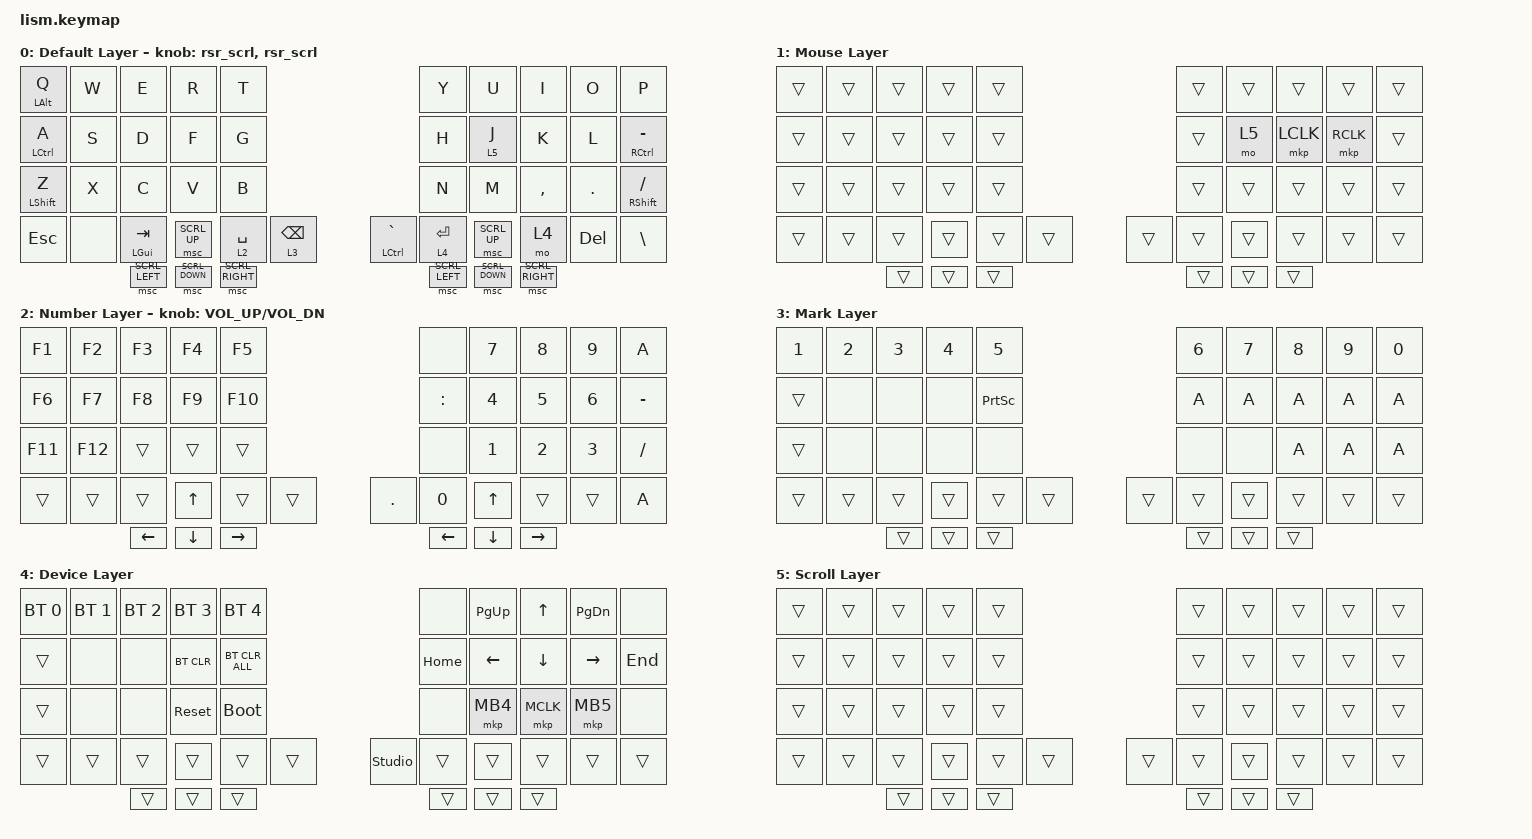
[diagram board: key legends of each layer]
#define ZMK_POINTING_DEFAULT_SCRL_VAL 200

#include <dt-bindings/zmk/mouse.h>
#include <behaviors/runtime-sensor-rotate.dtsi>
#include <behaviors/default_layer.dtsi>
#include <dt-bindings/zmk_behavior_default_layer/default_layer.h>
#include <behaviors.dtsi>
#include <dt-bindings/zmk/bt.h>
#include <dt-bindings/zmk/keys.h>
#include <dt-bindings/zmk/pointing.h>

&mt {
    tapping-term-ms = <300>;
    flavor = "balanced";
};

&lt { quick-tap-ms = <300>; flavor = "balanced";};

//&automouse {
//    continue-list = <&mkp LCLK &mkp RCLK>;
//};
&zip_temp_layer {
    /* オートマウスレイヤーを解除したくないキーの「ポジション番号」を指定します */
    /* （例：16番と17番のキーにLCLKやRCLKを割り当てている場合） */
    excluded-positions = <17 18>;
};

/ {
    macros {
        emoji: emoji_macro {
            compatible = "zmk,behavior-macro";
            label = "EMOJI";
            #binding-cells = <0>;
            bindings =
                <&macro_press>,
                <&kp CAPSLOCK>,
                <&macro_tap>,
                <&kp E>,
                <&macro_release>,
                <&kp CAPSLOCK>;
        };
    };

    behaviors {
        encoder_kp: sensor_rotate_kp {
            compatible = "zmk,behavior-sensor-rotate-var";
            #sensor-binding-cells = <2>;
            bindings = <&kp>, <&kp>;
        };

        rsr_scrl: rsr_scrl {
            compatible = "zmk,behavior-runtime-sensor-rotate";
            #sensor-binding-cells = <0>;
            tap-ms = <20>;
            cw-binding = <&msc SCRL_DOWN>;
            ccw-binding = <&msc SCRL_UP>;
        };
    };

    keymap {
        compatible = "zmk,keymap";

        default_layer {
            display-name = "Default Layer";
            bindings = <
&mt LEFT_ALT Q    &kp W  &kp E             &kp R           &kp T                                                &kp Y           &kp U           &kp I            &kp O    &kp P
&mt LCTRL A       &kp S  &kp D             &kp F           &kp G                                                &kp H           &lt 5 J         &kp K            &kp L    &mt RCTRL MINUS
&mt LEFT_SHIFT Z  &kp X  &kp C             &kp V           &kp B                                                &kp N           &kp M           &kp COMMA        &kp DOT  &mt RIGHT_SHIFT SLASH
&kp ESC           &none  &mt LEFT_GUI TAB  &msc SCRL_UP    &lt 2 SPACE      &lt 3 BACKSPACE    &mt LCTRL GRAVE  &lt 4 ENTER     &msc SCRL_UP    &mo 4            &kp DEL  &kp BACKSLASH
                         &msc SCRL_LEFT    &msc SCRL_DOWN  &msc SCRL_RIGHT                                      &msc SCRL_LEFT  &msc SCRL_DOWN  &msc SCRL_RIGHT
            >;

            sensor-bindings = <&rsr_scrl &rsr_scrl>;
        };

        layer_1 {
            display-name = "Mouse Layer";
            bindings = <
&trans  &trans  &trans  &trans  &trans                    &trans  &trans  &trans     &trans     &trans
&trans  &trans  &trans  &trans  &trans                    &trans  &mo 5   &mkp LCLK  &mkp RCLK  &trans
&trans  &trans  &trans  &trans  &trans                    &trans  &trans  &trans     &trans     &trans
&trans  &trans  &trans  &trans  &trans  &trans    &trans  &trans  &trans  &trans     &trans     &trans
                &trans  &trans  &trans                    &trans  &trans  &trans
            >;
        };

        layer_2 {
            display-name = "Number Layer";
            bindings = <
&kp F1   &kp F2   &kp F3    &kp F4    &kp F5                        &none      &kp N7    &kp N8     &kp N9  &kp A
&kp F6   &kp F7   &kp F8    &kp F9    &kp F10                       &kp COLON  &kp N4    &kp N5     &kp N6  &kp MINUS
&kp F11  &kp F12  &trans    &trans    &trans                        &none      &kp N1    &kp N2     &kp N3  &kp FSLH
&trans   &trans   &trans    &kp UP    &trans     &trans    &kp DOT  &kp N0     &kp UP    &trans     &trans  &kp A
                  &kp LEFT  &kp DOWN  &kp RIGHT                     &kp LEFT   &kp DOWN  &kp RIGHT
            >;

            sensor-bindings = <&encoder_kp C_VOL_UP C_VOL_DN>;
        };

        layer_3 {
            display-name = "Mark Layer";
            bindings = <
&kp N1  &kp N2  &kp N3  &kp N4  &kp N5                             &kp N6  &kp N7  &kp N8  &kp N9  &kp N0
&trans  &none   &none   &none   &kp PRINTSCREEN                    &kp A   &kp A   &kp A   &kp A   &kp A
&trans  &none   &none   &none   &none                              &none   &none   &kp A   &kp A   &kp A
&trans  &trans  &trans  &trans  &trans           &trans    &trans  &trans  &trans  &trans  &trans  &trans
                &trans  &trans  &trans                             &trans  &trans  &trans
            >;
        };

        layer_4 {
            display-name = "Device Layer";
            bindings = <
&bt BT_SEL 0  &bt BT_SEL 1  &bt BT_SEL 2  &bt BT_SEL 3  &bt BT_SEL 4                              &none     &kp PAGE_UP     &kp UP_ARROW    &kp PAGE_DOWN    &none
&trans        &none         &none         &bt BT_CLR    &bt BT_CLR_ALL                            &kp HOME  &kp LEFT_ARROW  &kp DOWN_ARROW  &kp RIGHT_ARROW  &kp END
&trans        &none         &none         &sys_reset    &bootloader                               &none     &mkp MB4        &mkp MCLK       &mkp MB5         &none
&trans        &trans        &trans        &trans        &trans          &trans    &studio_unlock  &trans    &trans          &trans          &trans           &trans
                            &trans        &trans        &trans                                    &trans    &trans          &trans
            >;
        };

        layer_5 {
            display-name = "Scroll Layer";
            bindings = <
&trans  &trans  &trans  &trans  &trans                    &trans  &trans  &trans  &trans  &trans
&trans  &trans  &trans  &trans  &trans                    &trans  &trans  &trans  &trans  &trans
&trans  &trans  &trans  &trans  &trans                    &trans  &trans  &trans  &trans  &trans
&trans  &trans  &trans  &trans  &trans  &trans    &trans  &trans  &trans  &trans  &trans  &trans
                &trans  &trans  &trans                    &trans  &trans  &trans
            >;
        };

        layer_6 {
            status = "reserved";
            display-name = "Brank Layer";
            bindings = <
&trans  &trans  &trans  &trans  &trans                    &trans  &trans  &trans  &trans  &trans
&trans  &trans  &trans  &trans  &trans                    &trans  &trans  &trans  &trans  &trans
&trans  &trans  &trans  &trans  &trans                    &trans  &trans  &trans  &trans  &trans
&trans  &trans  &trans  &trans  &trans  &trans    &trans  &trans  &trans  &trans  &trans  &trans
                &trans  &trans  &trans                    &trans  &trans  &trans
            >;
        };

        layer_7 {
            status = "reserved";
            display-name = "Brank Layer";
            bindings = <
&trans  &trans  &trans  &trans  &trans                    &trans  &trans  &trans  &trans  &trans
&trans  &trans  &trans  &trans  &trans                    &trans  &trans  &trans  &trans  &trans
&trans  &trans  &trans  &trans  &trans                    &trans  &trans  &trans  &trans  &trans
&trans  &trans  &trans  &trans  &trans  &trans    &trans  &trans  &trans  &trans  &trans  &trans
                &trans  &trans  &trans                    &trans  &trans  &trans
            >;
        };
    };
};
